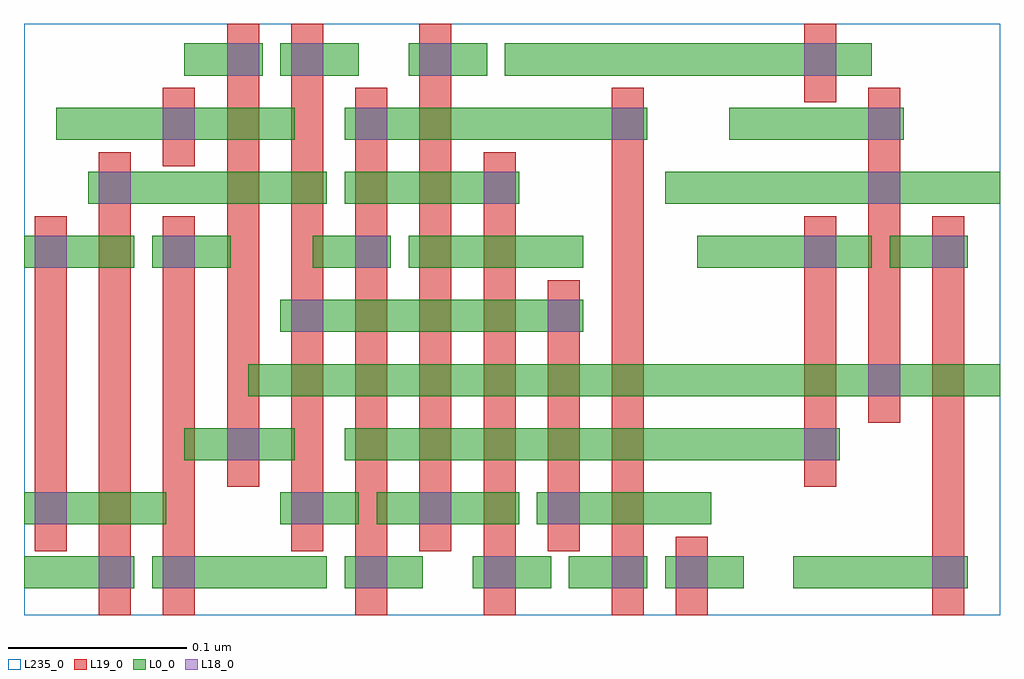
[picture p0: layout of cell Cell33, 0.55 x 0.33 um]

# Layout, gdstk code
import gdstk
lib = gdstk.Library(unit=1e-6, precision=2.5e-10)
def R(c, l, rs):  # rectangles x0, y0, x1, y1
    for r in rs: c.add(gdstk.rectangle(r[:2], r[2:], *l))
def A(c, l, x, y, w, h, nx, ny, dx, dy):  # array of equal rectangles
    R(c, l, [(x+i*dx, y+j*dy, x+i*dx+w, y+j*dy+h) for i in range(nx) for j in range(ny)])
L0_0 = (0, 0)
L18_0 = (18, 0)
L19_0 = (19, 0)
L235_0 = (235, 0)

cell33 = lib.new_cell('Cell33')
A(cell33, L0_0, 0.256, -0.001, 0.044, 0.018, 3, 1, 0.054, 0)
R(cell33, L0_0, [(0.004,-0.001,0.066,0.017), (0.076,-0.001,0.174,0.017), (0.184,-0.001,0.228,0.017), (0.436,-0.001,0.534,0.017), (0.004,0.035,0.084,0.053), (0.148,0.035,0.192,0.053), (0.202,0.035,0.282,0.053), (0.292,0.035,0.39,0.053), (0.094,0.071,0.156,0.089), (0.184,0.071,0.462,0.089), (0.13,0.107,0.552,0.125), (0.148,0.143,0.318,0.161), (0.004,0.179,0.066,0.197), (0.076,0.179,0.12,0.197), (0.166,0.179,0.21,0.197), (0.22,0.179,0.318,0.197), (0.382,0.179,0.48,0.197), (0.49,0.179,0.534,0.197), (0.04,0.215,0.174,0.233), (0.184,0.215,0.282,0.233), (0.364,0.215,0.552,0.233), (0.022,0.251,0.156,0.269), (0.184,0.251,0.354,0.269), (0.4,0.251,0.498,0.269), (0.094,0.287,0.138,0.305), (0.148,0.287,0.192,0.305), (0.22,0.287,0.264,0.305), (0.274,0.287,0.48,0.305)])
A(cell33, L18_0, 0.19, -0.001, 0.018, 0.018, 3, 1, 0.072, 0)
A(cell33, L18_0, 0.154, 0.035, 0.018, 0.018, 3, 1, 0.072, 0)
A(cell33, L18_0, 0.442, 0.071, 0.018, 0.018, 1, 3, 0, 0.108)
A(cell33, L18_0, 0.046, 0.215, 0.018, 0.018, 3, 1, 0.216, 0)
A(cell33, L18_0, 0.19, 0.251, 0.018, 0.018, 3, 1, 0.144, 0)
R(cell33, L18_0, [(0.046,-0.001,0.064,0.017), (0.082,-0.001,0.1,0.017), (0.37,-0.001,0.388,0.017), (0.514,-0.001,0.532,0.017), (0.01,0.035,0.028,0.053), (0.118,0.071,0.136,0.089), (0.478,0.107,0.496,0.125), (0.154,0.143,0.172,0.161), (0.298,0.143,0.316,0.161), (0.01,0.179,0.028,0.197), (0.082,0.179,0.1,0.197), (0.19,0.179,0.208,0.197), (0.514,0.179,0.532,0.197), (0.082,0.251,0.1,0.269), (0.118,0.287,0.136,0.305), (0.154,0.287,0.172,0.305), (0.226,0.287,0.244,0.305)])
R(cell33, L19_0, [(0.046,-0.016,0.064,0.244), (0.082,-0.016,0.1,0.208), (0.19,-0.016,0.208,0.28), (0.262,-0.016,0.28,0.244), (0.334,-0.016,0.352,0.28), (0.37,-0.016,0.388,0.028), (0.514,-0.016,0.532,0.208), (0.01,0.02,0.028,0.208), (0.154,0.02,0.172,0.316), (0.226,0.02,0.244,0.316), (0.298,0.02,0.316,0.172), (0.118,0.056,0.136,0.316), (0.442,0.056,0.46,0.208), (0.478,0.092,0.496,0.28), (0.082,0.236,0.1,0.28), (0.442,0.272,0.46,0.316)])
R(cell33, L235_0, [(0.004,-0.016,0.552,0.316)])

lib.write_gds('Cell33.gds')
